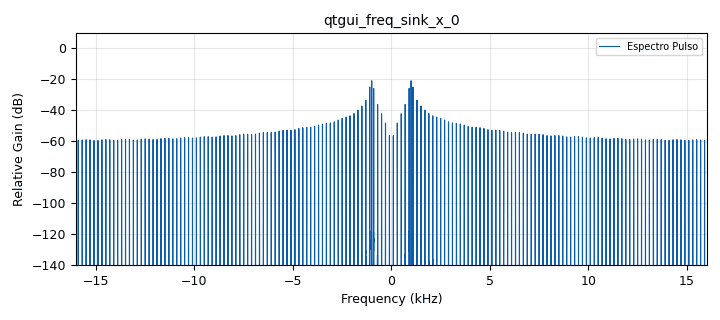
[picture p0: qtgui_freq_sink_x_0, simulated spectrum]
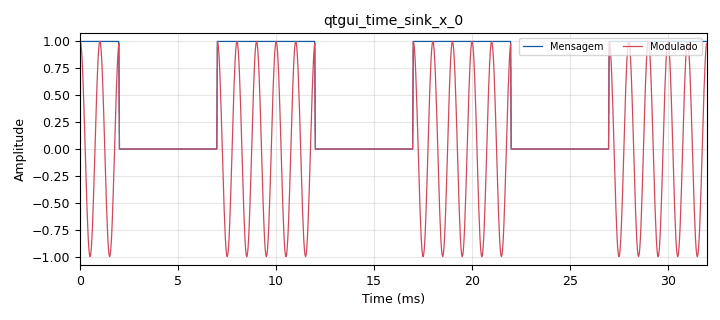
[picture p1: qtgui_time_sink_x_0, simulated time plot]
options:
  parameters:
    generate_options: qt_gui
    id: ASK
    output_language: python
    title: Not titled yet
  states: {}

blocks:
- name: samp_rate
  id: variable
  parameters:
    value: '32000'
  states: {}
- name: analog_sig_source_x_0
  id: analog_sig_source_x
  parameters:
    amp: '1'
    freq: '100'
    offset: '0'
    phase: '0'
    samp_rate: samp_rate
    type: float
    waveform: analog.GR_SQR_WAVE
  states: {}
- name: analog_sig_source_x_0_0
  id: analog_sig_source_x
  parameters:
    amp: '1'
    freq: '1000'
    offset: '0'
    phase: '0'
    samp_rate: samp_rate
    type: float
    waveform: analog.GR_COS_WAVE
  states: {}
- name: blocks_multiply_xx_0
  id: blocks_multiply_xx
  parameters:
    type: float
  states: {}
- name: qtgui_freq_sink_x_0
  id: qtgui_freq_sink_x
  parameters:
    bw: samp_rate
    fc: '0'
    fftsize: '32768'
    label1: Espectro Pulso
    type: float
  states: {}
- name: qtgui_time_sink_x_0
  id: qtgui_time_sink_x
  parameters:
    label1: Mensagem
    label2: Modulado
    nconnections: '2'
    size: '1024'
    srate: samp_rate
    type: float
  states: {}

connections:
- [analog_sig_source_x_0, '0', blocks_multiply_xx_0, '0']
- [analog_sig_source_x_0, '0', qtgui_time_sink_x_0, '0']
- [analog_sig_source_x_0_0, '0', blocks_multiply_xx_0, '1']
- [blocks_multiply_xx_0, '0', qtgui_freq_sink_x_0, '0']
- [blocks_multiply_xx_0, '0', qtgui_time_sink_x_0, '1']

metadata:
  file_format: 1
  grc_version: 3.10.5.1
